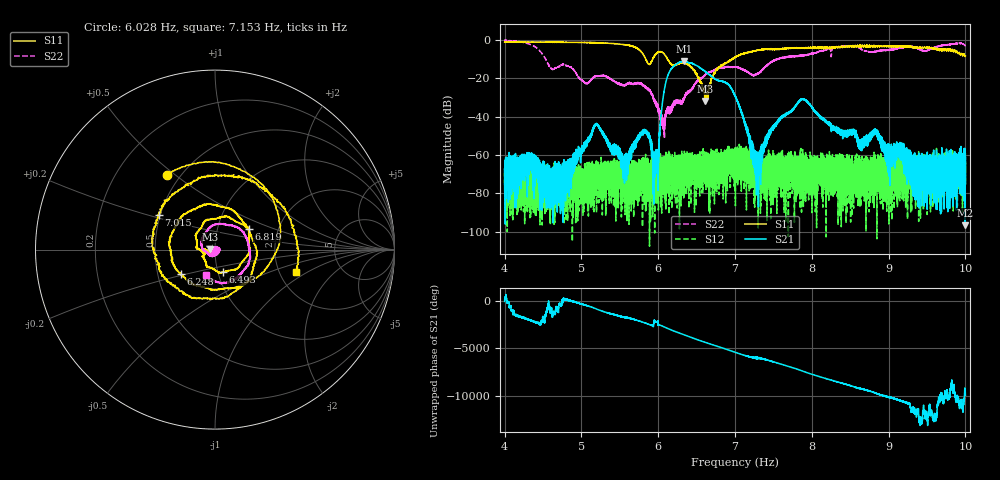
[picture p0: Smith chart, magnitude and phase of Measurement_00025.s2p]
!Created with skrf (http://scikit-rf.org).
# Hz S RI R 50.0
!freq ReS11 ImS11 ReS21 ImS21 ReS12 ImS12 ReS22 ImS22
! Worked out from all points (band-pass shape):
!   14001 points, 4 Hz to 10 Hz, reference 50 ohm
!   highest |S21| = -11.03 dB at 6.338 Hz (marker M1); lowest = -96.8 dB at 9.994 Hz (marker M2)
!   |S21| within 3 dB of the highest: 6.191 Hz to 6.531 Hz (340.4 mHz wide, 5.35 % of centre)
!   lowest |S11| = -31.8 dB at 6.612 Hz (marker M3), VSWR 1.05, Z = 47.5 + j0.402 ohm
!   |S11| at or under -10 dB: 5.838 Hz to 5.928 Hz (89.75 mHz wide, 1.53 % of centre); 6.122 Hz to 6.958 Hz (836.5 mHz wide, 12.8 % of centre); 6.958485 Hz to 6.958973 Hz (488.2 uHz wide, 0.00702 % of centre)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
!   |S22| runs from -51.5 to -0.2 dB; largest |S21 - S12| = 0.28
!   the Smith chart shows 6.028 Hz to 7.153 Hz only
!   S11 on the Smith chart (normalised r, x): 6.028 Hz: 0.42, +0.47; 6.248 Hz: 0.66, -0.19; 6.493 Hz: 1.05, -0.26; 6.819 Hz: 1.41, +0.34; 7.015 Hz: 0.49, +0.22; 7.153 Hz: 2.46, -0.80
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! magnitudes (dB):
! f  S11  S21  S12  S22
! 4 Hz  -1.0  -67.7  -68.1  -0.2
! 4.624 Hz  -1.1  -73.2  -75.4  -15.2
! 5 Hz  -1.2  -57.3  -76.7  -20.8
! 5.194 Hz  -1.4  -43.9  -69.5  -18.9
! 5.563 Hz  -2.4  -63.4  -79.8  -23.5
! 5.805 Hz  -7.5  -47.7  -80.1  -23.9
! 6 Hz  -6.3  -66.0  -76.3  -35.3
! 6.028 Hz  -6.1  -42.5  -64.6  -39.6
! 6.109 Hz  -9.0  -20.5  -68.5  -37.2
! 6.248 Hz  -12.6  -12.3  -70.7  -33.0
! 6.338 Hz  -11.9  -11.0  -68.7  -30.9
! 6.493 Hz  -17.7  -13.1  -86.7  -22.3
! 6.612 Hz  -31.8  -16.4  -62.9  -18.3
! 6.819 Hz  -13.2  -21.4  -71.4  -14.4
! 7 Hz  -9.0  -29.1  -56.3  -14.0
! 7.015 Hz  -8.7  -30.6  -65.8  -14.0
! 7.153 Hz  -6.6  -47.4  -56.8  -16.4
! 7.284 Hz  -5.4  -67.3  -67.8  -17.9
! 8 Hz  -4.1  -34.9  -69.6  -6.8
! 9 Hz  -3.3  -61.2  -69.5  -5.1
! 9.994 Hz  -8.5  -96.8  -65.7  -2.8
! 10 Hz  -8.3  -61.1  -61.4  -3.1
